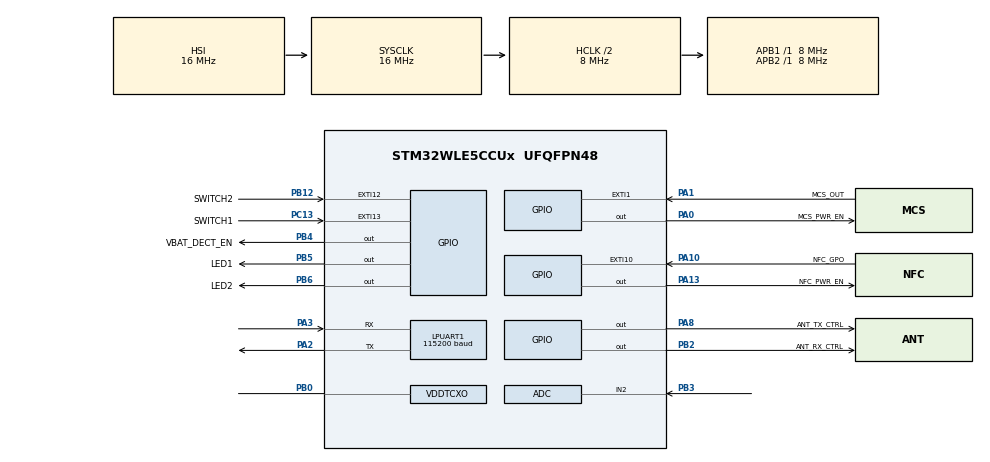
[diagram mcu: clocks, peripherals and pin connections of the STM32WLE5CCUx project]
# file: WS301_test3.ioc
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ADC.NbrOfConversion=1
ADC.SelectedChannel=ADC_CHANNEL_2
Dma.LPUART1_RX.0.Direction=DMA_PERIPH_TO_MEMORY
Dma.LPUART1_RX.0.EventEnable=DISABLE
Dma.LPUART1_RX.0.Instance=DMA1_Channel1
Dma.LPUART1_RX.0.MemDataAlignment=DMA_MDATAALIGN_BYTE
Dma.LPUART1_RX.0.MemInc=DMA_MINC_ENABLE
Dma.LPUART1_RX.0.Mode=DMA_NORMAL
Dma.LPUART1_RX.0.PeriphDataAlignment=DMA_PDATAALIGN_BYTE
Dma.LPUART1_RX.0.PeriphInc=DMA_PINC_DISABLE
Dma.LPUART1_RX.0.Polarity=HAL_DMAMUX_REQ_GEN_RISING
Dma.LPUART1_RX.0.Priority=DMA_PRIORITY_LOW
Dma.LPUART1_RX.0.RequestNumber=1
Dma.LPUART1_RX.0.SignalID=NONE
Dma.LPUART1_RX.0.SyncEnable=DISABLE
Dma.LPUART1_RX.0.SyncPolarity=HAL_DMAMUX_SYNC_NO_EVENT
Dma.LPUART1_RX.0.SyncRequestNumber=1
Dma.LPUART1_RX.0.SyncSignalID=NONE
Dma.Request0=LPUART1_RX
FREERTOS.Queues01=processQueue,4,processRequest_t,0,Dynamic,NULL,NULL
FREERTOS.Tasks01=defaultTask,24,1024,StartDefaultTask,Default,NULL,Dynamic,NULL,NULL;nfcTask,32,1024,StartNFCTask,Default,NULL,Dynamic,NULL,NULL;systemTask,24,768,StartSystemTask,Default,NULL,Dynamic,NULL,NULL
FREERTOS.configTOTAL_HEAP_SIZE=0x8000
FREERTOS.configUSE_NEWLIB_REENTRANT=1
LORAWAN.Activate_BOARD_RESOURCES=none
LORAWAN.Activate_RADIO_BOARD_INTERFACE=UserBoard
LORAWAN.IS_DCDC_SUPPORTED=true
LORAWAN.IS_TCXO_SUPPORTED=true
LORAWAN.REGION_CN470=true
LORAWAN.RF_WAKEUP_TIME=10
LORAWAN.SUBGHZ_APPLICATION=LORA_USER_APPLICATION
LORAWAN.TX_RFO_CONFIG=RBI_CONF_RFO_HP
LORAWAN.USE_RTC=true
LORAWAN.USE_UART=true
LPUART1.BaudRate=115200
LoRaWAN.BSP.number=2
LoRaWAN0.BSP.STBoard=false
LoRaWAN0.BSP.api=Unknown
LoRaWAN0.BSP.condition=\!SEM_LORA_USER_APPLICATION | SEM_LORA_USE_RTC
LoRaWAN0.BSP.i2caddr=0
LoRaWAN0.BSP.instance=RTC
LoRaWAN0.BSP.ip=RTC
LoRaWAN0.BSP.mode=RTC Enabled
LoRaWAN0.BSP.name=RTC
LoRaWAN0.BSP.solution=RTC
LoRaWAN1.BSP.STBoard=false
LoRaWAN1.BSP.api=Unknown
LoRaWAN1.BSP.condition=SEM_LORA_END_NODE  | SEM_LORA_USE_UART
LoRaWAN1.BSP.i2caddr=0
LoRaWAN1.BSP.instance=LPUART1
LoRaWAN1.BSP.ip=(LPU|US)ART
LoRaWAN1.BSP.mode=Asynchronous
LoRaWAN1.BSP.name=USART
LoRaWAN1.BSP.solution=LPUART1
Mcu.Family=STM32WL
Mcu.Name=STM32WLE5CCUx
Mcu.Package=UFQFPN48
NVIC.DMA1_Channel1_IRQn=true\:5\:0\:false\:false\:true\:true\:false\:true
NVIC.LPUART1_IRQn=true\:5\:0\:false\:false\:true\:true\:true\:true
NVIC.PriorityGroup=NVIC_PRIORITYGROUP_4
NVIC.RTC_Alarm_IRQn=true\:1\:0\:true\:false\:true\:false\:true\:true
NVIC.SUBGHZ_Radio_IRQn=true\:5\:0\:false\:false\:true\:true\:true\:true
NVIC.TAMP_STAMP_LSECSS_SSRU_IRQn=true\:1\:0\:true\:false\:true\:false\:true\:true
NVIC.TIM16_IRQn=true\:5\:0\:false\:false\:true\:true\:true\:true
NVIC.TIM1_UP_IRQn=true\:15\:0\:false\:false\:true\:false\:false\:true
NVIC.TimeBase=TIM1_UP_IRQn
NVIC.TimeBaseIP=TIM1
OSC_IN.Mode=HSE-TCXO
OSC_IN.Signal=RCC_OSC_IN
PA0.GPIO_Label=MCS_PWR_EN
PA0.Signal=GPIO_Output
PA1.GPIO_Label=MCS_OUT
PA1.GPIO_ModeDefaultEXTI=GPIO_MODE_IT_RISING_FALLING
PA1.Signal=GPXTI1
PA10.GPIO_Label=NFC_GPO
PA10.GPIO_ModeDefaultEXTI=GPIO_MODE_IT_RISING_FALLING
PA10.Signal=GPXTI10
PA13.GPIO_Label=NFC_PWR_EN
PA13.Signal=GPIO_Output
PA2.Mode=Asynchronous
PA2.Signal=LPUART1_TX
PA3.Mode=Asynchronous
PA3.Signal=LPUART1_RX
PA8.GPIO_Label=ANT_TX_CTRL
PA8.Signal=GPIO_Output
PB0-VDD_TCXO.Mode=HSE-TCXO
PB0-VDD_TCXO.Signal=VDDTCXO
PB12.GPIO_Label=SWITCH2
PB12.GPIO_ModeDefaultEXTI=GPIO_MODE_IT_RISING_FALLING
PB12.Signal=GPXTI12
PB2.GPIO_Label=ANT_RX_CTRL
PB2.Signal=GPIO_Output
PB3.Mode=IN2
PB3.Signal=ADC_IN2
PB4.GPIO_Label=VBAT_DECT_EN
PB4.Signal=GPIO_Output
PB5.GPIO_Label=LED1
PB5.Signal=GPIO_Output
PB6.GPIO_Label=LED2
PB6.Signal=GPIO_Output
PC13.GPIO_Label=SWITCH1
PC13.GPIO_ModeDefaultEXTI=GPIO_MODE_IT_FALLING
PC13.Signal=GPXTI13
PC14-OSC32_IN.Mode=LSE-External-Oscillator
PC14-OSC32_IN.Signal=RCC_OSC32_IN
PC15-OSC32_OUT.Mode=LSE-External-Oscillator
PC15-OSC32_OUT.Signal=RCC_OSC32_OUT
ProjectManager.HeapSize=0x800
ProjectManager.StackSize=0x800
ProjectManager.TargetToolchain=STM32CubeIDE
RCC.AHBCLKDivider=RCC_SYSCLK_DIV2
RCC.AHBFreq_Value=8000000
RCC.APB1Freq_Value=8000000
RCC.APB1TimFreq_Value=8000000
RCC.APB2Freq_Value=8000000
RCC.APB2TimFreq_Value=8000000
RCC.APB3Freq_Value=16000000
RCC.CortexFreq_Value=8000000
RCC.HCLKFreq_Value=8000000
RCC.HSE_VALUE=32000000
RCC.HSI_VALUE=16000000
RCC.LPUART1CLockSelection=RCC_LPUART1CLKSOURCE_HSI
RCC.LSE_VALUE=32768
RCC.PLLSourceVirtual=RCC_PLLSOURCE_HSI
RCC.RTCClockSelection=RCC_RTCCLKSOURCE_LSE
RCC.SYSCLKFreq_VALUE=16000000
RCC.SYSCLKSource=RCC_SYSCLKSOURCE_HSI
RCC.VCOOutputFreq_Value=128000000
RTC.Alarm-Alarm\ A=RTC_ALARM_A
RTC.AsynchPrediv=32-1
RTC.BinMode=RTC_BINARY_ONLY
TIM16.Period=1000-1
TIM16.Prescaler=8-1
VP_ADV_TRACE_VS_ADV_TRACE.Mode=ADV_TRACE_Enabled
VP_FREERTOS_VS_CMSIS_V2.Mode=CMSIS_V2
VP_LORAWAN_VS_LoRaWAN.Mode=LoRaWAN_Enabled
VP_MISC_VS_MISC.Mode=MISC_Enabled
VP_RTC_VS_RTC_Activate.Mode=RTC_Enabled
VP_RTC_VS_RTC_Alarm_A_Intern.Mode=Alarm A
VP_RTC_VS_RTC_Calendar.Mode=RTC_Calendar
VP_SUBGHZ_VS_SUBGHZ.Mode=SUBGHZ_Activate
VP_SYS_VS_tim1.Mode=TIM1
VP_TIM16_VS_ClockSourceINT.Mode=Enable_Timer
VP_TIMER_VS_TIMER.Mode=TIMER_Enabled
VP_TINY_LPM_VS_TINY_LPM.Mode=TINY_LPM_Enabled
board=custom

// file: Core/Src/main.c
/* USER CODE BEGIN Header */
/**
  ******************************************************************************
  * @file           : main.c
  * @brief          : Main program body
  ******************************************************************************
  * @attention
  *
  * Copyright (c) 2022 STMicroelectronics.
  * All rights reserved.
  *
  * This software is licensed under terms that can be found in the LICENSE file
  * in the root directory of this software component.
  * If no LICENSE file comes with this software, it is provided AS-IS.
  *
  ******************************************************************************
  */
/* USER CODE END Header */
#include "main.h"
#include "cmsis_os.h"
#include "adc.h"
#include "dma.h"
#include "app_lorawan.h"
#include "usart.h"
#include "rtc.h"
#include "subghz.h"
#include "tim.h"
#include "gpio.h"

/* USER CODE BEGIN Includes */
#include <stdio.h>
#ifdef __GNUC__
#define PUTCHAR_PROTOTYPE int __io_putchar(int ch)
#else
#define PUTCHAR_PROTOTYPE int fputc(int ch, FILE *f)
#endif
PUTCHAR_PROTOTYPE
{
    HAL_UART_Transmit(&hlpuart1, (uint8_t *)&ch, 1 , 10);
    return ch;
}
/* USER CODE END Includes */

void SystemClock_Config(void);
void MX_FREERTOS_Init(void);

int main(void)
{

  /* MCU Configuration--------------------------------------------------------*/

  /* Reset of all peripherals, Initializes the Flash interface and the Systick. */
  HAL_Init();

  /* Configure the system clock */
  SystemClock_Config();

  /* Initialize all configured peripherals */
  MX_GPIO_Init();
  MX_DMA_Init();
  MX_LPUART1_UART_Init();
  MX_RTC_Init();
  MX_SUBGHZ_Init();
  MX_ADC_Init();
  MX_TIM16_Init();
  /* USER CODE BEGIN 2 */
  uint32_t rcc_csr = READ_REG(RCC->CSR);
  printf("Welcome to WS301 Application! rcc_csr = %08lx\r\n", rcc_csr);
  /* USER CODE END 2 */

  /* Init scheduler */
  osKernelInitialize();  /* Call init function for freertos objects (in freertos.c) */
  MX_FREERTOS_Init();
  /* Start scheduler */
  osKernelStart();

  /* We should never get here as control is now taken by the scheduler */
  /* Infinite loop */
  while (1)
  {

  }
}

void SystemClock_Config(void)
{
  RCC_OscInitTypeDef RCC_OscInitStruct = {0};
  RCC_ClkInitTypeDef RCC_ClkInitStruct = {0};

  /** Configure LSE Drive Capability
  */
  HAL_PWR_EnableBkUpAccess();
  __HAL_RCC_LSEDRIVE_CONFIG(RCC_LSEDRIVE_LOW);
  /** Configure the main internal regulator output voltage
  */
  __HAL_PWR_VOLTAGESCALING_CONFIG(PWR_REGULATOR_VOLTAGE_SCALE2);
  /** Initializes the CPU, AHB and APB busses clocks
  */
  RCC_OscInitStruct.OscillatorType = RCC_OSCILLATORTYPE_HSI|RCC_OSCILLATORTYPE_LSE;
  RCC_OscInitStruct.LSEState = RCC_LSE_ON;
  RCC_OscInitStruct.HSIState = RCC_HSI_ON;
  RCC_OscInitStruct.HSICalibrationValue = RCC_HSICALIBRATION_DEFAULT;
  RCC_OscInitStruct.PLL.PLLState = RCC_PLL_NONE;
  if (HAL_RCC_OscConfig(&RCC_OscInitStruct) != HAL_OK)
  {
    Error_Handler();
  }
  /** Configure the SYSCLKSource, HCLK, PCLK1 and PCLK2 clocks dividers
  */
  RCC_ClkInitStruct.ClockType = RCC_CLOCKTYPE_HCLK3|RCC_CLOCKTYPE_HCLK
                              |RCC_CLOCKTYPE_SYSCLK|RCC_CLOCKTYPE_PCLK1
                              |RCC_CLOCKTYPE_PCLK2;
  RCC_ClkInitStruct.SYSCLKSource = RCC_SYSCLKSOURCE_HSI;
  RCC_ClkInitStruct.AHBCLKDivider = RCC_SYSCLK_DIV2;
  RCC_ClkInitStruct.APB1CLKDivider = RCC_HCLK_DIV1;
  RCC_ClkInitStruct.APB2CLKDivider = RCC_HCLK_DIV1;
  RCC_ClkInitStruct.AHBCLK3Divider = RCC_SYSCLK_DIV1;

  if (HAL_RCC_ClockConfig(&RCC_ClkInitStruct, FLASH_LATENCY_0) != HAL_OK)
  {
    Error_Handler();
  }
}

void HAL_TIM_PeriodElapsedCallback(TIM_HandleTypeDef *htim)
{
  if (htim->Instance == TIM1) {
    HAL_IncTick();
  }
}

void Error_Handler(void)
{
  __disable_irq();
  while (1)
  {
  }
}

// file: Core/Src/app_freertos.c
/* USER CODE BEGIN Header */
/**
  ******************************************************************************
  * File Name          : app_freertos.c
  * Description        : Code for freertos applications
  ******************************************************************************
  * @attention
  *
  * Copyright (c) 2022 STMicroelectronics.
  * All rights reserved.
  *
  * This software is licensed under terms that can be found in the LICENSE file
  * in the root directory of this software component.
  * If no LICENSE file comes with this software, it is provided AS-IS.
  *
  ******************************************************************************
  */
/* USER CODE END Header */

#include "FreeRTOS.h"
#include "task.h"
#include "main.h"
#include "cmsis_os.h"

#include "app_lorawan.h"

/* USER CODE BEGIN Includes */
#include "lora_app.h"
#include "usart.h"
#include <stdio.h>
#include "time.h"
#include "cJSON.h"
#include <stdlib.h>
#include "event_log.h"
#include "LoRaMac.h"
/* USER CODE END Includes */

/* USER CODE BEGIN PD */
#define	RECEIVE_MAX 256
/* USER CODE END PD */

/* USER CODE BEGIN Variables */
static uint8_t rxData[RECEIVE_MAX] = {0};
static uint16_t rxLen = 0;
eventLog_t evelog;
/* USER CODE END Variables */
/* Definitions for defaultTask */
osThreadId_t defaultTaskHandle;
const osThreadAttr_t defaultTask_attributes = {
  .name = "defaultTask",
  .priority = (osPriority_t) osPriorityNormal,
  .stack_size = 1024 * 4
};
/* Definitions for nfcTask */
osThreadId_t nfcTaskHandle;
const osThreadAttr_t nfcTask_attributes = {
  .name = "nfcTask",
  .priority = (osPriority_t) osPriorityAboveNormal,
  .stack_size = 1024 * 4
};
/* Definitions for systemTask */
osThreadId_t systemTaskHandle;
const osThreadAttr_t systemTask_attributes = {
  .name = "systemTask",
  .priority = (osPriority_t) osPriorityNormal,
  .stack_size = 768 * 4
};
/* Definitions for processQueue */
osMessageQueueId_t processQueueHandle;
const osMessageQueueAttr_t processQueue_attributes = {
  .name = "processQueue"
};

/* USER CODE BEGIN FunctionPrototypes */
void ws301Process(void);
void serialProcess(void);
void memcpy8to16(uint16_t *dst, const uint8_t *src, uint8_t size);
/* USER CODE END FunctionPrototypes */

void StartDefaultTask(void *argument);
void StartNFCTask(void *argument);
void StartSystemTask(void *argument);

void MX_FREERTOS_Init(void); /* (MISRA C 2004 rule 8.1) */

void MX_FREERTOS_Init(void) {

  /* Create the queue(s) */
  /* creation of processQueue */
  processQueueHandle = osMessageQueueNew (4, sizeof(processRequest_t), &processQueue_attributes);

  /* Create the thread(s) */
  /* creation of defaultTask */
  defaultTaskHandle = osThreadNew(StartDefaultTask, NULL, &defaultTask_attributes);

  /* creation of nfcTask */
  nfcTaskHandle = osThreadNew(StartNFCTask, NULL, &nfcTask_attributes);

  /* creation of systemTask */
  systemTaskHandle = osThreadNew(StartSystemTask, NULL, &systemTask_attributes);

}

void StartDefaultTask(void *argument)
{
  /* init code for LoRaWAN */
  MX_LoRaWAN_Init();
  /* USER CODE BEGIN StartDefaultTask */
  /* Infinite loop */
  for(;;)
  {
	ws301Process();
	MX_LoRaWAN_Process();
    osDelay(1);
  }
  /* USER CODE END StartDefaultTask */
}

void StartNFCTask(void *argument)
{
  /* USER CODE BEGIN StartNFCTask */

  /* Infinite loop */
  for(;;)
  {

	  if(HAL_GPIO_ReadPin(SWITCH2_GPIO_Port, SWITCH2_Pin) == SWITCH2_PRESS){
		  osDelay(10);
		  if(HAL_GPIO_ReadPin(SWITCH2_GPIO_Port, SWITCH2_Pin) == SWITCH2_PRESS){
			  LED_GREEN_TOGGLE();
			  evelog.time = SysTimeGet().Seconds;
			  evelog.event = BUTTON_PREES;
			  log_write(evelog);
			  while(HAL_GPIO_ReadPin(SWITCH2_GPIO_Port, SWITCH2_Pin) == SWITCH2_PRESS){
				  osDelay(100);
			  }
			  evelog.time = SysTimeGet().Seconds;
			  evelog.event = BUTTON_RELEASE;
			  log_write(evelog);
		  }
	  }
	  osDelay(10);
  }
  /* USER CODE END StartNFCTask */
}

void StartSystemTask(void *argument)
{
  /* USER CODE BEGIN StartSystemTask */
	HAL_UARTEx_ReceiveToIdle_DMA(&hlpuart1, rxData, RECEIVE_MAX);
  /* Infinite loop */
  for(;;)
  {
	  serialProcess();
      osDelay(10);
  }
  /* USER CODE END StartSystemTask */
}

/* USER CODE BEGIN Application */
void HAL_UARTEx_RxEventCallback(UART_HandleTypeDef *huart, uint16_t Size)
{
    rxLen = Size;
    if (rxLen >= RECEIVE_MAX){
    	log_err("rx overflow!\r\n");
    }else{
    	rxData[rxLen] = 0;
    }

    HAL_UARTEx_ReceiveToIdle_DMA(&hlpuart1, rxData, RECEIVE_MAX);
}

void ws301Process(void){
	static osStatus_t result;
	static processRequest_t msg_ptr;
	static uint8_t Buffer[256] = {0};
	static LmHandlerAppData_t appData = {0,0,Buffer};
	static TimerTime_t nextTxIn = 0;

	LmHandlerErrorStatus_t errStatus;

	if ((osMessageQueueGetCount (processQueueHandle) != 0) && (LoRaMacIsReq() == false) ){

		result = osMessageQueueGet (processQueueHandle, &msg_ptr, NULL, 0);
		if(result != osOK){
			log_err("get msg fail:%d\r\n",result);
			return;
		}
		switch(msg_ptr.RequestType){
			case MSG_JOIN:
				log("rec join:%d\r\n",msg_ptr.param.ActivationType);
				LmHandlerJoin(msg_ptr.param.ActivationType);
				break;
			case MSG_SEND:
				log("rec send\r\n");

				appData.Port = msg_ptr.param.SendPacket.Port;
				appData.BufferSize = msg_ptr.param.SendPacket.BufferSize;
//				printf("appData.BufferSize:%d\r\n",appData.BufferSize);

				memcpy1(appData.Buffer, msg_ptr.param.SendPacket.Buffer, appData.BufferSize );
//				printf("appData.Buffer:%d\r\n",appData.Buffer[0]);
				LmHandlerSend(&appData, msg_ptr.param.SendPacket.MsgType,&nextTxIn, \
						msg_ptr.param.SendPacket.allowDelayedTx );
				break;
			case MSG_READ_CONFIG:
				errStatus = LmHandlerGetDevAddr(&msg_ptr.param.devAddr);
				if (errStatus != LORAMAC_HANDLER_SUCCESS){
					log_err("GetDevAdd fail:%d\r\n",errStatus);
				}else{
					log("devAddr:%08X\r\n",msg_ptr.param.devAddr);
				}
				errStatus = LmHandlerGetDevEUI(msg_ptr.param.devEUI);
				if (errStatus != LORAMAC_HANDLER_SUCCESS){
					log_err("GetDevEUI fail:%d\r\n",errStatus);
				}else{
					log("###### DevEui:  %02X:%02X:%02X:%02X:%02X:%02X:%02X:%02X\r\n",HEX8(msg_ptr.param.devEUI));
				}
				errStatus = LmHandlerGetAppEUI(msg_ptr.param.appEUI);
				if (errStatus != LORAMAC_HANDLER_SUCCESS){
					log_err("GetAppEUI fail:%d\r\n",errStatus);
				}else{
					log("###### AppEui:  %02X:%02X:%02X:%02X:%02X:%02X:%02X:%02X\r\n",HEX8(msg_ptr.param.appEUI));
				}
				errStatus = LmHandlerGetNwkKey(msg_ptr.param.appKey);//AppKey->NwkKey
				if (errStatus != LORAMAC_HANDLER_SUCCESS){
					log_err("GetAppKey fail:%d\r\n",errStatus);
				}else{
					log("###### AppKey:  %02X:%02X:%02X:%02X:%02X:%02X:%02X:%02X:%02X:%02X:%02X:%02X:%02X:%02X:%02X:%02X\r\n",HEX16(msg_ptr.param.appKey));
				}
				errStatus = LmHandlerGetAppSKey(msg_ptr.param.appSKey);
				if (errStatus != LORAMAC_HANDLER_SUCCESS){
					log_err("GetAppSKey fail:%d\r\n",errStatus);
				}else{
					log("###### AppSKey:  %02X:%02X:%02X:%02X:%02X:%02X:%02X:%02X:%02X:%02X:%02X:%02X:%02X:%02X:%02X:%02X\r\n",HEX16(msg_ptr.param.appSKey));
				}
				errStatus = LmHandlerGetNwkSKey(msg_ptr.param.nwkSKey);
				if (errStatus != LORAMAC_HANDLER_SUCCESS){
					log_err("GetNwkSKey fail:%d\r\n",errStatus);
				}else{
					log("###### NwkSKey:  %02X:%02X:%02X:%02X:%02X:%02X:%02X:%02X:%02X:%02X:%02X:%02X:%02X:%02X:%02X:%02X\r\n",HEX16(msg_ptr.param.nwkSKey));
				}
				errStatus = LmGetDefaultChannelMask(msg_ptr.param.defChannel);
				if (errStatus != LORAMAC_HANDLER_SUCCESS){
					log_err("GetDefChannel fail:%d\r\n",errStatus);
				}else{
					log("###### DefChannel:  %04X:%04X:%04X:%04X:%04X:%04X\r\n",HEX8(msg_ptr.param.defChannel));
				}

				errStatus = LmGetChannelMask(msg_ptr.param.channel);
				if (errStatus != LORAMAC_HANDLER_SUCCESS){
					log_err("GetChannel fail:%d\r\n",errStatus);
				}else{
					log("###### Channel:  %04X:%04X:%04X:%04X:%04X:%04X\r\n",HEX8(msg_ptr.param.channel));
				}
				break;
			case MSG_DEV_ADDR:
				errStatus = LmHandlerSetDevAddr(msg_ptr.param.devAddr);
				if (errStatus != LORAMAC_HANDLER_SUCCESS){
					log_err("SetDevAddr fail:%d\r\n",errStatus);
				}else{
					log("SetDevAddr:%08X\r\n",msg_ptr.param.devAddr);
				}
				break;
			case MSG_DEV_EUI:
				errStatus = LmHandlerSetDevEUI(msg_ptr.param.devEUI);
				if (errStatus != LORAMAC_HANDLER_SUCCESS){
					log_err("SetDevEUI fail:%d\r\n",errStatus);
				}else{
					log("SetDevEUI:%02X:%02X:%02X:%02X:%02X:%02X:%02X:%02X\r\n",HEX8(msg_ptr.param.devEUI));
				}
				break;
			case MSG_APP_EUI:
				errStatus = LmHandlerSetAppEUI(msg_ptr.param.appEUI);
				if (errStatus != LORAMAC_HANDLER_SUCCESS){
					log_err("SetAppEUI fail:%d\r\n",errStatus);
				}else{
					log("SetAppEUI:%02X:%02X:%02X:%02X:%02X:%02X:%02X:%02X\r\n",HEX8(msg_ptr.param.appEUI));
				}
				break;
			case MSG_APP_KEY:
				errStatus = LmHandlerSetNwkKey(msg_ptr.param.appKey);
				if (errStatus != LORAMAC_HANDLER_SUCCESS){
					log_err("SetAppKey fail:%d\r\n",errStatus);
				}else{
					log("SetAppKey:%02X:%02X:%02X:%02X:%02X:%02X:%02X:%02X:%02X:%02X:%02X:%02X:%02X:%02X:%02X:%02X\r\n",HEX16(msg_ptr.param.appKey));
				}
				break;
			case MSG_APP_SKEY:
				errStatus = LmHandlerSetAppSKey(msg_ptr.param.appSKey);
				if (errStatus != LORAMAC_HANDLER_SUCCESS){
					log_err("SetAppSKey fail:%d\r\n",errStatus);
				}else{
					log("SetAppSKey:%02X:%02X:%02X:%02X:%02X:%02X:%02X:%02X:%02X:%02X:%02X:%02X:%02X:%02X:%02X:%02X\r\n",HEX16(msg_ptr.param.appSKey));
				}
				break;
			case MSG_NWK_SKEY:
				errStatus = LmHandlerSetNwkSKey(msg_ptr.param.nwkSKey);
				if (errStatus != LORAMAC_HANDLER_SUCCESS){
					log_err("SetNwkSKey fail:%d\r\n",errStatus);
				}else{
					log("SetNwkSKey:%02X:%02X:%02X:%02X:%02X:%02X:%02X:%02X:%02X:%02X:%02X:%02X:%02X:%02X:%02X:%02X\r\n",HEX16(msg_ptr.param.nwkSKey));
				}
				break;
			case MSG_DEFAULT_CHANNEL:
				errStatus = LmSetDefaultChannelMask(msg_ptr.param.defChannel);
				if (errStatus != LORAMAC_HANDLER_SUCCESS){
					log_err("SetDefChannel fail:%d\r\n",errStatus);
				}else{
					log("SetDefChannel:%04X:%04X:%04X:%04X:%04X:%04X\r\n",HEX6(msg_ptr.param.defChannel));
				}
				break;
			case MSG_CHANNEL:
				errStatus = LmSetChannelMask(msg_ptr.param.channel);
				if (errStatus != LORAMAC_HANDLER_SUCCESS){
					log_err("SetChannel fail:%d\r\n",errStatus);
				}else{
					log("SetChannel:%04X:%04X:%04X:%04X:%04X:%04X\r\n",HEX6(msg_ptr.param.channel));
				}
				break;
			case MSG_STOP:
				errStatus = LmHandlerStop();
				if (errStatus != LORAMAC_HANDLER_SUCCESS){
					log_err("LmHandlerStop fail:%d\r\n",errStatus);
				}else{
					log("LmHandlerStop\r\n");
				}
				break;
			case MSG_DEV_TIME:
				if (LmHandlerDeviceTimeReq() == LORAMAC_HANDLER_SUCCESS){
					log("DeviceTimeReq SUCCESS\r\n");
				}else{
					log_err("DeviceTimeReq ERROR\r\n");
				}
				break;

			case MSG_RESERVED:
				break;
			default:
				break;
		}

	}
}
void serialProcess(void){
	static osStatus_t result;
    if (rxLen)
    {
//		  printf("READ[%s][%d]\r\n", rxData, rxLen);

  	  printf_arr(rxData,rxData,rxLen);

      if (rxLen > 3){
      	  if (rxData[0]==0x7e && rxData[2]==(rxLen-4) && rxData[rxLen-1]==0x7e){
      		  processRequest_t msg = {0};
      		  SysTime_t sysTime = {0};
      		  SysTime_t mcuTime = {0};
      		  switch(rxData[1]){

				  case CMD_JOIN_ABP:
					  log("ABP\r\n");
					  msg.RequestType = MSG_JOIN;
					  msg.param.ActivationType = ACTIVATION_TYPE_ABP;
					  break;
				  case CMD_JOIN_OTAA:
					  log("OTAA\r\n");
					  msg.RequestType = MSG_JOIN;
					  msg.param.ActivationType = ACTIVATION_TYPE_OTAA;
					  break;
				  case CMD_SEND_UNCONF:
					  log("UNCONF\r\n");
					  msg.RequestType = MSG_SEND;
					  msg.param.SendPacket.MsgType = LORAMAC_HANDLER_UNCONFIRMED_MSG;
					  msg.param.SendPacket.Port = 2;
					  msg.param.SendPacket.BufferSize = rxData[2];
					  memcpy1( msg.param.SendPacket.Buffer, &rxData[3], rxData[2] );

					  break;
				  case CMD_SEND_CONF:
					  log("CONF\r\n");
					  msg.RequestType = MSG_SEND;
					  msg.param.SendPacket.MsgType = LORAMAC_HANDLER_CONFIRMED_MSG;
					  msg.param.SendPacket.Port = 2;
					  msg.param.SendPacket.BufferSize = rxData[2];
					  memcpy1( msg.param.SendPacket.Buffer, &rxData[3], rxData[2] );

					  break;
				  case CMD_READ_CONFIG:
					  log("CMD_READ_CONFIG\r\n");
					  msg.RequestType = MSG_READ_CONFIG;
					  break;

				  case CMD_DEV_ADDR:
					  log("CMD_DEV_ADDR\r\n");
					  if(rxData[2] == 4){
						  msg.RequestType = MSG_DEV_ADDR;
						  msg.param.devAddr = (rxData[3]<<24)+(rxData[4]<<16)+(rxData[5]<<8)+rxData[6];
						  log("devAddr:%lu \r\n",msg.param.devAddr);
					  }else{
						  log_err("cmd err\r\n");
					  }

					  break;
				  case CMD_DEV_EUI:
					  log("CMD_DEV_EUI\r\n");
					  if(rxData[2] == 8){
						  msg.RequestType = MSG_DEV_EUI;
						  memcpy1( msg.param.devEUI, &rxData[3], rxData[2] );
						  printf_arr("msg.param.devEUI",msg.param.devEUI,8);
					  }else{
						  log_err("cmd err\r\n");
					  }
					  break;
				  case CMD_APP_EUI:
					  log("CMD_APP_EUI\r\n");
					  if(rxData[2] == 8){
						  msg.RequestType = MSG_APP_EUI;
						  memcpy1( msg.param.appEUI, &rxData[3], rxData[2] );
					  }else{
						  log_err("cmd err\r\n");
					  }
					  break;
				  case CMD_APP_KEY:
					  log("CMD_APP_KEY\r\n");
					  if(rxData[2] == 16){
						  msg.RequestType = MSG_APP_KEY;
						  memcpy1( msg.param.appKey, &rxData[3], rxData[2] );
					  }else{
						  log_err("cmd err\r\n");
					  }
					  break;
				  case CMD_APP_SKEY:
					  if(rxData[2] == 16){
						  msg.RequestType = MSG_APP_SKEY;
						  memcpy1( msg.param.appSKey, &rxData[3], rxData[2] );
					  }else{
						  log_err("cmd err\r\n");
					  }
					  break;
				  case CMD_NWK_SKEY:
					  if(rxData[2] == 16){
						  msg.RequestType = MSG_NWK_SKEY;
						  memcpy1( msg.param.nwkSKey, &rxData[3], rxData[2] );
					  }else{
						  log_err("cmd err\r\n");
					  }
					  break;
				  case CMD_DEFAULT_CHANNEL:
					  if(rxData[2] == 12){
						  msg.RequestType = MSG_DEFAULT_CHANNEL;
						  memcpy8to16( msg.param.defChannel, &rxData[3], 6 );
					  }else{
						  log_err("cmd err\r\n");
					  }
					  break;
				  case CMD_CHANNEL:
					  if(rxData[2] == 12){
						  msg.RequestType = MSG_CHANNEL;
						  memcpy8to16( msg.param.channel, &rxData[3], 6 );
					  }else{
						  log_err("cmd err\r\n");
					  }
					  break;
				  case CMD_ADR:
					  if(rxData[3] == 0){
						  msg.RequestType = MSG_CHANNEL;
						  msg.param.adrEnable = 0;
					  }else if(rxData[3] == 1){
						  msg.RequestType = MSG_CHANNEL;
						  msg.param.adrEnable = 1;
					  }else{
						  log_err("cmd err\r\n");
					  }
					  break;
				  case CMD_STOP:
					  log("CMD_STOP\r\n");
					  msg.RequestType = MSG_STOP;
					  break;
				  case CMD_DEV_TIME:
					  msg.RequestType = MSG_DEV_TIME;
					  break;
				  case CMD_GET_TIME:
					  sysTime = SysTimeGet();
					  log("sysTime:%lu\r\n",sysTime.Seconds);
					  break;
				  case CMD_GET_MCUTIME:
					  mcuTime = SysTimeGetMcuTime();
					  log("mcuTime:%lu\r\n",mcuTime.Seconds);
					  break;
				  case CMD_READ_JSON:
					  log("READ_JSON\r\n");
					  log_print();
					  break;
				  default :
					  log_err("cmd err\r\n");
					  break;

      		  }
      		  if (msg.RequestType != MSG_NONE){
      			  result = osMessageQueuePut (processQueueHandle, &msg, 0, 0);
				  if (result != osOK){
						log_err("put msg fail:%d\r\n",result);
				  }
      		  }

      	  }

      }

      rxLen = 0;
    }
}

void memcpy8to16(uint16_t *dst, const uint8_t *src, uint8_t size){

	 while( size-- )
	 {
	        *dst++ = ((*src++)<<8)+(*src++);
	 }

}
/* USER CODE END Application */
